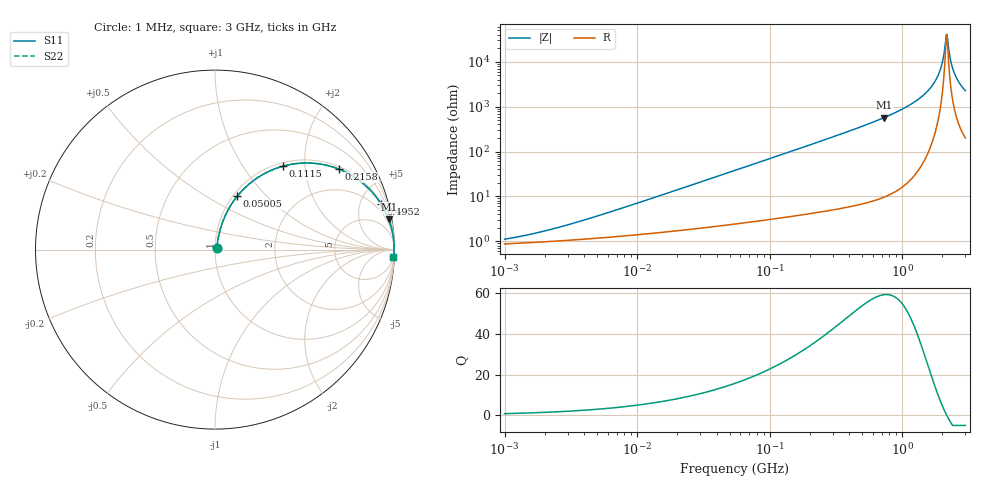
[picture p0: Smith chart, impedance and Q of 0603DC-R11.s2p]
# MHz  S  MA  R  50
!Freq  MagS11  AngS11  MagS21  AngS21  MagS12  AngS12  MagS22  AngS22
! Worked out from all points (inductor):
!   801 points, 1 MHz to 3 GHz, reference 50 ohm
!   read as one part in series: L = 110 nH near 5.111 MHz
!   highest Q = 59.2 at 731.6 MHz (marker M1), where L = 124 nH
!   self-resonance near 2.156 GHz
!   S11 on the Smith chart (normalised r, x): 1 MHz: 1.02, +0.01; 50.05 MHz: 1.05, +0.69; 111.5 MHz: 1.06, +1.54; 215.8 MHz: 1.08, +3.01; 495.2 MHz: 1.13, +7.22; 3 GHz: 5, -45
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1  0.01102 38.0  0.9913 -0.4  0.9913 -0.4  0.01102 38.0
3.823119  0.02831 65.9  0.9888 -1.5  0.9888 -1.5  0.02831 65.9
14.47069  0.09919 75.6  0.98 -5.6  0.98 -5.6  0.09919 75.6
50.05449  0.3211 67.5  0.9257 -18.7  0.9257 -18.7  0.3211 67.5
54.77226  0.3476 66.1  0.9158 -20.3  0.9158 -20.3  0.3476 66.1
111.4693  0.5998 50.8  0.7758 -36.8  0.7758 -36.8  0.5998 50.8
209.4008  0.8145 33.9  0.5573 -54.5  0.5573 -54.5  0.8145 33.9
215.7832  0.8226 33.1  0.5459 -55.3  0.5459 -55.3  0.8226 33.1
495.1867  0.9592 15.4  0.2656 -73.5  0.2656 -73.5  0.9592 15.4
731.6083  0.9822 9.9  0.1721 -79.1  0.1721 -79.1  0.9822 9.9
792.5923  0.9852 9.0  0.1558 -80.1  0.1558 -80.1  0.9852 9.0
1243.477  0.9952 4.5  0.07771 -84.2  0.07771 -84.2  0.9952 4.5
1645.649  0.9975 2.1  0.03722 -85.0  0.03722 -85.0  0.9975 2.1
1912.199  0.9978 1.0  0.01691 -82.0  0.01691 -82.0  0.9978 1.0
2010.32  0.9978 0.6  0.01033 -77.3  0.01033 -77.3  0.9978 0.6
2113.475  0.9977 0.2  0.00413 -55.9  0.00413 -55.9  0.9977 0.2
2156.205  0.9976 0.0  0.002482 -17.9  0.002482 -17.9  0.9976 0.0
2221.924  0.9975 -0.2  0.004055 52.6  0.004055 52.6  0.9975 -0.2
2359.433  0.9973 -0.6  0.01153 76.0  0.01153 76.0  0.9973 -0.6
2505.452  0.9969 -1.1  0.01947 80.3  0.01947 80.3  0.9969 -1.1
2741.597  0.9962 -1.8  0.03158 82.1  0.03158 82.1  0.9962 -1.8
3000  0.9951 -2.5  0.04395 82.4  0.04395 82.4  0.9951 -2.5
